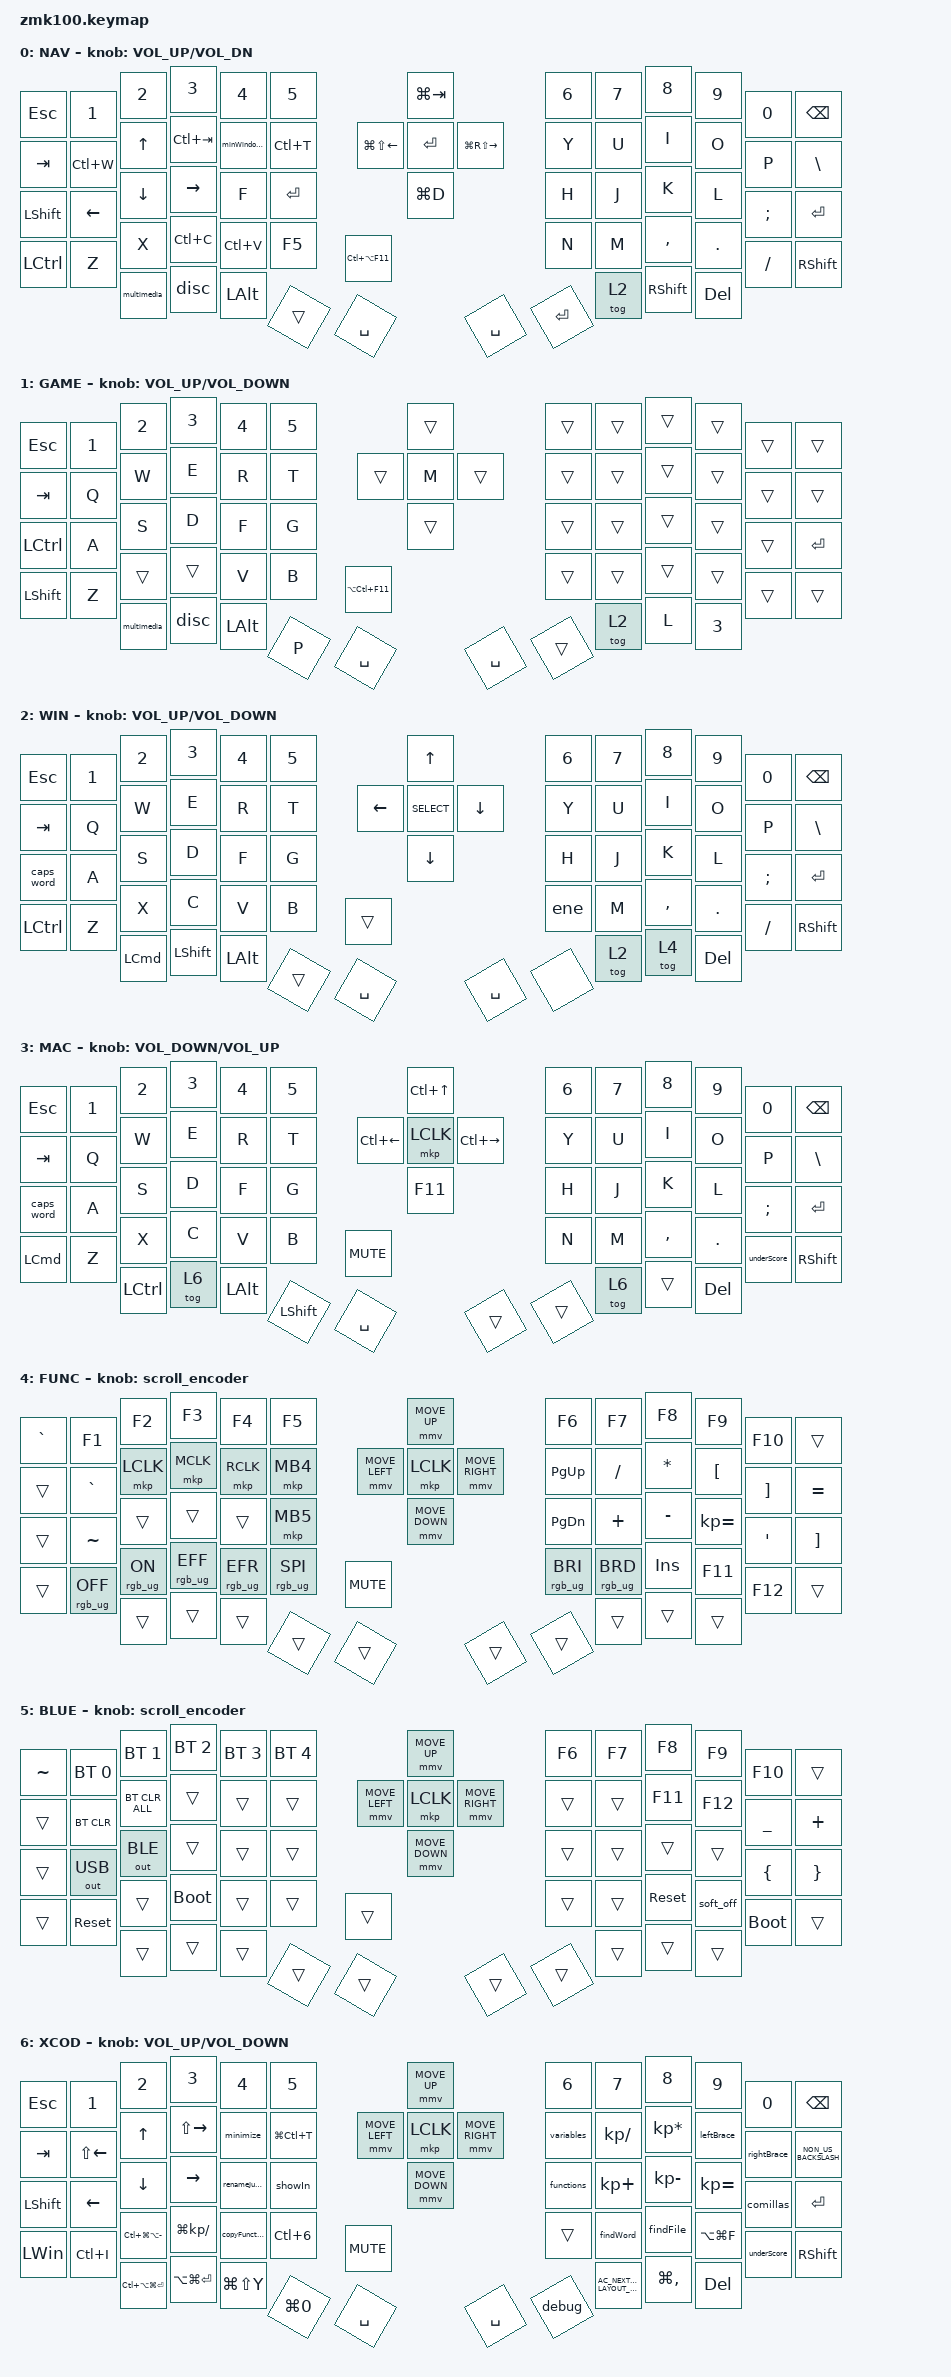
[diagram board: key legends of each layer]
/*
 * Copyright (c) 2023 The ZMK Contributors
 *
 * SPDX-License-Identifier: MIT
 */

#define ZMK_POINTING_DEFAULT_MOVE_VAL 1200  // 600
#define ZMK_POINTING_DEFAULT_SCRL_VAL 25   // 10

#include <input/processors.dtsi>
#include <zephyr/dt-bindings/input/input-event-codes.h>
#include <behaviors.dtsi>
#include <dt-bindings/zmk/bt.h>
#include <dt-bindings/zmk/keys.h>
#include <dt-bindings/zmk/outputs.h>
#include <dt-bindings/zmk/pointing.h>
#include <dt-bindings/zmk/rgb.h>

&mmv_input_listener { input-processors = <&zip_xy_scaler 2 1>; };

&msc_input_listener { input-processors = <&zip_scroll_scaler 2 1>; };

&msc {
    acceleration-exponent = <1>;      // 0
    time-to-max-speed-ms = <100>;       // 300
    delay-ms = <0>;                   // 0
};

&mmv {
    time-to-max-speed-ms = <500>;
    acceleration-exponent = <1>;
    trigger-period-ms = <16>;
};

&soft_off { hold-time-ms = <2000>; };

/ {
    scroll_encoder: scroll_encoder {
        compatible = "zmk,behavior-sensor-rotate";
        #sensor-binding-cells = <0>;
        bindings = <&msc SCRL_DOWN>, <&msc SCRL_UP>;

        tap-ms = <100>;
    };

    equalPlus: equalPlus {
        compatible = "zmk,behavior-tap-dance";
        label = "EQUALPLUS";
        #binding-cells = <0>;
        bindings = <&kp EQUAL>, <&kp PLUS>;

        tapping-term-ms = <300>;
    };

    comillas: comillas {
        compatible = "zmk,behavior-tap-dance";
        label = "COMILLAS";
        #binding-cells = <0>;
        bindings = <&kp SQT>, <&kp DOUBLE_QUOTES>;

        tapping-term-ms = <300>;
    };

    menos: menos {
        compatible = "zmk,behavior-tap-dance";
        label = "MENOS";
        #binding-cells = <0>;
        bindings = <&kp MINUS>, <&kp UNDERSCORE>;

        tapping-term-ms = <300>;
    };

    ene: ene {
        compatible = "zmk,behavior-tap-dance";
        label = "ENE";
        #binding-cells = <0>;
        bindings = <&kp N>, <&kp RA(N)>;

        tapping-term-ms = <300>;
    };

    disc: disc {
        compatible = "zmk,behavior-tap-dance";
        label = "DISC";
        #binding-cells = <0>;
        bindings = <&kp LC(INSERT)>, <&kp LC(LA(PAGE_DOWN))>, <&kp LG(LA(Q))>;

        tapping-term-ms = <300>;
    };

    multimedia: multimedia {
        compatible = "zmk,behavior-tap-dance";
        label = "MULTIMEDIA";
        #binding-cells = <0>;
        bindings = <&kp C_PLAY_PAUSE>, <&kp C_NEXT>, <&kp C_PREVIOUS>;

        tapping-term-ms = <300>;
    };

    minWindows: minWindows {
        compatible = "zmk,behavior-tap-dance";
        label = "MINWINDOWS";
        #binding-cells = <0>;
        bindings =
            <&kp LG(DOWN_ARROW)>,
            <&kp LG(UP_ARROW)>,
            <&kp LG(LEFT_ARROW)>,
            <&kp LG(RIGHT)>;

        tapping-term-ms = <300>;
    };

    leftBrace: leftBrace {
        compatible = "zmk,behavior-tap-dance";
        label = "LEFTBRACE";
        #binding-cells = <0>;
        tapping-term-ms = <300>;
        bindings = <&kp LEFT_BRACKET>, <&kp LEFT_BRACE>;
    };

    rightBrace: rightBrace {
        compatible = "zmk,behavior-tap-dance";
        label = "RIGHTBRACE";
        #binding-cells = <0>;
        bindings = <&kp RIGHT_BRACKET>, <&kp RIGHT_BRACE>;

        tapping-term-ms = <300>;
    };

    copyFunction: copyFunction {
        compatible = "zmk,behavior-tap-dance";
        label = "COPYFUNCTION";
        #binding-cells = <0>;
        bindings = <&kp LG(C)>, <&kp LG(V)>, <&kp LG(X)>;

        tapping-term-ms = <300>;
    };

    findWord: findWord {
        compatible = "zmk,behavior-tap-dance";
        label = "FINDWORD";
        #binding-cells = <0>;
        bindings = <&kp LG(F)>, <&kp LA(LG(F))>;

        tapping-term-ms = <300>;
    };

    findFile: findFile {
        compatible = "zmk,behavior-tap-dance";
        label = "FINDFILE";
        #binding-cells = <0>;
        bindings = <&kp LS(LG(O))>, <&kp LA(LG(J))>;

        tapping-term-ms = <300>;
    };

    variables: variables {
        compatible = "zmk,behavior-tap-dance";
        label = "VARIABLES";
        #binding-cells = <0>;
        bindings = <&variableLet>, <&variableVar>;

        tapping-term-ms = <300>;
    };

    debug: debug {
        compatible = "zmk,behavior-tap-dance";
        label = "DEBUG";
        #binding-cells = <0>;
        bindings = <&kp LG(LS(K))>, <&kp LG(B)>, <&kp LG(R)>;

        tapping-term-ms = <300>;
    };

    functions: functions {
        compatible = "zmk,behavior-tap-dance";
        label = "FUNCTIONS";
        #binding-cells = <0>;
        bindings = <&funcFunction>, <&funcIf>;

        tapping-term-ms = <300>;
    };

    minimize: minimize {
        compatible = "zmk,behavior-tap-dance";
        label = "MINIMIZE";
        #binding-cells = <0>;
        bindings = <&kp LC(LG(F))>, <&kp LG(H)>;

        tapping-term-ms = <300>;
    };

    showIn: showIn {
        compatible = "zmk,behavior-tap-dance";
        label = "SHOWIN";
        #binding-cells = <0>;
        bindings = <&kp LS(LG(J))>, <&kp LC(LG(LA(MINUS)))>;

        tapping-term-ms = <300>;
    };

    renameJump: renameJump {
        compatible = "zmk,behavior-tap-dance";
        label = "RENAMEJUMP";
        #binding-cells = <0>;
        bindings = <&kp LG(LC(E))>, <&kp LC(LG(J))>;

        tapping-term-ms = <300>;
    };

    underScore: underScore {
        compatible = "zmk,behavior-mod-morph";
        label = "UNDERSCORE";
        bindings = <&kp UNDERSCORE>, <&kp QUESTION>;

        #binding-cells = <0>;
        mods = <(MOD_RSFT)>;
    };

    behaviors {
    };

    combos {
        compatible = "zmk,combos";

        pcw {
            bindings = <&PcP1>;
            key-positions = <0 53>;
            layers = <0 1 2>;
        };

        toLayer0 {
            bindings = <&to 0>;
            key-positions = <57 0>;
            layers = <0 2 1 4 5 6 3>;
        };

        toLayer1 {
            bindings = <&to 1>;
            key-positions = <57 1>;
            layers = <0 2 3 1 4 5 6>;
        };

        toLayer2 {
            bindings = <&to 2>;
            key-positions = <57 2>;
            layers = <0 2 3 1 4 5 6>;
        };

        toLayer3 {
            bindings = <&to 3>;
            key-positions = <57 3>;
            layers = <0 2 3 1 4 5 6>;
        };

        mcw {
            bindings = <&McP1>;
            key-positions = <0 53>;
            layers = <3>;
        };

        toLayer4 {
            bindings = <&to 4>;
            key-positions = <57 4>;
            layers = <0 2 3 1 4 5 6>;
        };

        LockW {
            bindings = <&kp LG(L)>;
            key-positions = <0 39>;
            layers = <0 1 2>;
        };

        spotyOp {
            bindings = <&kp LG(NUMBER_3)>;
            key-positions = <39 53>;
            layers = <0 2 1>;
        };

        discOp {
            bindings = <&kp LG(NUMBER_4)>;
            key-positions = <39 54>;
            layers = <0 2 1>;
        };

        chromeOp {
            bindings = <&kp LG(N5)>;
            key-positions = <39 55>;
            layers = <0 2 1>;
        };

        whatsOp {
            bindings = <&kp LG(NUMBER_6)>;
            key-positions = <39 56>;
            layers = <1 0 2>;
        };

        lolOp {
            bindings = <&kp LG(N7)>;
            key-positions = <39 57>;
            layers = <1>;
        };

        layer6left {
            bindings = <&tog 6>;
            key-positions = <39 57>;
            layers = <6 3>;
        };

        copyMac {
            bindings = <&kp LG(C)>;
            key-positions = <39 42>;
            layers = <6>;
        };

        pasteMac {
            bindings = <&kp LG(V)>;
            key-positions = <39 43>;
            layers = <6>;
        };

        cutMac {
            bindings = <&kp LG(X)>;
            key-positions = <39 41>;
            layers = <6>;
        };
    };

    macros {
        PcP1: new_macro {
            compatible = "zmk,behavior-macro";
            #binding-cells = <0>;
            bindings = <&kp LS(M) &kp E &kp D &kp A &kp L &kp L &kp A &kp N2 &kp N3 &kp ENTER>;
            label = "NEW_MACRO";
            tap-ms = <1>;
        };

        McP1: McP1 {
            compatible = "zmk,behavior-macro";
            #binding-cells = <0>;
            bindings = <&kp LS(M) &kp E &kp D &kp A &kp L &kp L &kp A &kp N2 &kp N3 &kp POUND &kp RET>;
            label = "MCP1";
            tap-ms = <1>;
        };

        variableLet: variables {
            compatible = "zmk,behavior-macro";
            #binding-cells = <0>;
            bindings = <&kp L &kp E &kp T &kp SPACE &kp SPACE &kp EQUAL &kp LEFT &kp LEFT>;
            label = "VARIABLES";
        };

        variableVar: variableVar {
            compatible = "zmk,behavior-macro";
            #binding-cells = <0>;
            bindings = <&kp V &kp A &kp R &kp SPACE &kp SPACE &kp EQUAL &kp LEFT &kp LEFT>;
            label = "VARIABLEVAR";
        };

        funcFunction: funcFunction {
            compatible = "zmk,behavior-macro";
            #binding-cells = <0>;
            bindings = <&kp F &kp U &kp N &kp C &kp SPACE &kp SPACE &kp LPAR &kp RPAR &kp SPACE &kp LBRC &kp RET &kp UP_ARROW &kp RIGHT>;
            label = "FUNCFUNCTION";
        };

        funcIf: funcIf {
            compatible = "zmk,behavior-macro";
            #binding-cells = <0>;
            bindings = <&kp I &kp F &kp SPACE &kp SPACE &kp EQUAL &kp EQUAL &kp SPACE &kp SPACE &kp LBRC &kp RET &kp UP_ARROW &kp LEFT>;
            label = "FUNCIF";
        };
    };

    keymap {
        compatible = "zmk,keymap";

        layer0 {
            bindings = <
&kp ESC           &kp N1       &kp N2    &kp N3       &kp N4       &kp N5       &kp LG(TAB)        &kp N6     &kp N7     &kp N8     &kp N9           &kp N0      &kp BACKSPACE
&kp TAB           &kp LC(W)    &kp UP    &kp LC(TAB)  &minWindows  &kp LC(T)    &kp LG(D)          &kp Y      &kp U      &kp I      &kp O            &kp P       &kp BSLH
&kp LEFT_SHIFT    &kp LEFT     &kp DOWN  &kp RIGHT    &kp F        &kp RET      &kp LG(LS(LEFT))   &kp H      &kp J      &kp K      &kp L            &kp SEMI    &kp ENTER
&kp LEFT_CONTROL  &kp Z        &kp X     &kp LC(C)    &kp LC(V)    &kp F5       &kp LG(RS(RIGHT))  &kp N      &kp M      &kp COMMA  &kp DOT          &kp FSLH    &kp RIGHT_SHIFT
&kp LC(LA(F11))   &multimedia  &disc     &kp LALT     &trans       &kp SPACE    &kp ENTER          &kp SPACE  &kp ENTER  &tog 2     &kp RIGHT_SHIFT  &kp DELETE
            >;

            sensor-bindings = <&inc_dec_kp C_VOLUME_UP C_VOL_DN>;
            display-name = "NAV";
        };

        layer_1 {
            bindings = <
&kp ESC           &kp N1       &kp N2  &kp N3    &kp N4  &kp N5       &trans  &trans     &trans  &trans  &trans  &trans  &trans
&kp TAB           &kp Q        &kp W   &kp E     &kp R   &kp T        &trans  &trans     &trans  &trans  &trans  &trans  &trans
&kp LEFT_CONTROL  &kp A        &kp S   &kp D     &kp F   &kp G        &trans  &trans     &trans  &trans  &trans  &trans  &kp ENTER
&kp LEFT_SHIFT    &kp Z        &trans  &trans    &kp V   &kp B        &trans  &trans     &trans  &trans  &trans  &trans  &trans
&kp LA(LC(F11))   &multimedia  &disc   &kp LALT  &kp P   &kp SPACE    &kp M   &kp SPACE  &trans  &tog 2  &kp L   &kp N3
            >;

            display-name = "GAME";
            sensor-bindings = <&inc_dec_kp C_VOLUME_UP C_VOLUME_DOWN>;
        };

        layer_2 {
            bindings = <
&kp ESC     &kp N1            &kp N2          &kp N3        &kp N4  &kp N5       &kp UP_ARROW    &kp N6     &kp N7  &kp N8     &kp N9   &kp N0    &kp BSPC
&kp TAB     &kp Q             &kp W           &kp E         &kp R   &kp T        &kp DOWN_ARROW  &kp Y      &kp U   &kp I      &kp O    &kp P     &kp BSLH
&caps_word  &kp A             &kp S           &kp D         &kp F   &kp G        &kp LEFT_ARROW  &kp H      &kp J   &kp K      &kp L    &kp SEMI  &kp RET
&kp LCTRL   &kp Z             &kp X           &kp C         &kp V   &kp B        &kp DOWN_ARROW  &ene       &kp M   &kp COMMA  &kp DOT  &kp FSLH  &kp RSHFT
&trans      &kp LEFT_COMMAND  &kp LEFT_SHIFT  &kp LEFT_ALT  &trans  &kp SPACE    &kp K_SELECT    &kp SPACE  &none   &tog 2     &tog 4   &kp DEL
            >;

            display-name = "WIN";
            sensor-bindings = <&inc_dec_kp C_VOLUME_UP C_VOLUME_DOWN>;
        };

        layer_3 {
            display-name = "MAC";
            bindings = <
&kp ESC           &kp N1            &kp N2  &kp N3        &kp N4          &kp N5       &kp LC(UP_ARROW)    &kp N6  &kp N7  &kp N8     &kp N9   &kp N0       &kp BSPC
&kp TAB           &kp Q             &kp W   &kp E         &kp R           &kp T        &kp F11             &kp Y   &kp U   &kp I      &kp O    &kp P        &kp BSLH
&caps_word        &kp A             &kp S   &kp D         &kp F           &kp G        &kp LC(LEFT_ARROW)  &kp H   &kp J   &kp K      &kp L    &kp SEMI     &kp RET
&kp LEFT_COMMAND  &kp Z             &kp X   &kp C         &kp V           &kp B        &kp LC(RIGHT)       &kp N   &kp M   &kp COMMA  &kp DOT  &underScore  &kp RSHFT
&kp K_MUTE        &kp LEFT_CONTROL  &tog 6  &kp LEFT_ALT  &kp LEFT_SHIFT  &kp SPACE    &mkp LCLK           &trans  &trans  &tog 6     &trans   &kp DELETE
            >;

            sensor-bindings = <&inc_dec_kp K_VOLUME_DOWN K_VOLUME_UP>;
        };

        layer_4 {
            bindings = <
&kp GRAVE   &kp F1           &kp F2          &kp F3           &kp F4           &kp F5             &mmv MOVE_UP     &kp F6           &kp F7           &kp F8        &kp F9            &kp F10            &trans
&trans      &kp GRAVE        &mkp LCLK       &mkp MCLK        &mkp RCLK        &mkp MB4           &mmv MOVE_DOWN   &kp PG_UP        &kp SLASH        &kp ASTERISK  &kp LEFT_BRACKET  &kp RIGHT_BRACKET  &kp EQUAL
&trans      &kp TILDE        &trans          &trans           &trans           &mkp MB5           &mmv MOVE_LEFT   &kp PG_DN        &kp PLUS         &kp MINUS     &kp KP_EQUAL      &kp SQT            &kp RIGHT_BRACKET
&trans      &rgb_ug RGB_OFF  &rgb_ug RGB_ON  &rgb_ug RGB_EFF  &rgb_ug RGB_EFR  &rgb_ug RGB_SPI    &mmv MOVE_RIGHT  &rgb_ug RGB_BRI  &rgb_ug RGB_BRD  &kp INSERT    &kp F11           &kp F12            &trans
&kp C_MUTE  &trans           &trans          &trans           &trans           &trans             &mkp LCLK        &trans           &trans           &trans        &trans            &trans
            >;

            display-name = "FUNC";
            sensor-bindings = <&scroll_encoder>;
        };

        layer_5 {
            bindings = <
&kp TILDE  &bt BT_SEL 0  &bt BT_SEL 1    &bt BT_SEL 2  &bt BT_SEL 3  &bt BT_SEL 4    &mmv MOVE_UP     &kp F6  &kp F7  &kp F8      &kp F9     &kp F10      &trans
&trans     &bt BT_CLR    &bt BT_CLR_ALL  &trans        &trans        &trans          &mmv MOVE_DOWN   &trans  &trans  &kp F11     &kp F12    &kp UNDER    &kp PLUS
&trans     &out OUT_USB  &out OUT_BLE    &trans        &trans        &trans          &mmv MOVE_LEFT   &trans  &trans  &trans      &trans     &kp LBRC     &kp RBRC
&trans     &sys_reset    &trans          &bootloader   &trans        &trans          &mmv MOVE_RIGHT  &trans  &trans  &sys_reset  &soft_off  &bootloader  &trans
&trans     &trans        &trans          &trans        &trans        &trans          &mkp LCLK        &trans  &trans  &trans      &trans     &trans
            >;

            display-name = "BLUE";
            sensor-bindings = <&scroll_encoder>;
        };

        Layers {
            bindings = <
&kp ESC         &kp NUMBER_1           &kp NUMBER_2           &kp NUMBER_3       &kp NUMBER_4   &kp N5              &mmv MOVE_UP     &kp NUMBER_6  &kp N7         &kp N8                                &kp N9         &kp NUMBER_0  &kp BACKSPACE
&kp TAB         &kp LS(LEFT_ARROW)     &kp UP                 &kp LS(RIGHT)      &minimize      &kp LG(LC(T))       &mmv MOVE_DOWN   &variables    &kp KP_DIVIDE  &kp KP_ASTERISK                       &leftBrace     &rightBrace   &kp NON_US_BACKSLASH
&kp LEFT_SHIFT  &kp LEFT               &kp DOWN               &kp RIGHT          &renameJump    &showIn             &mmv MOVE_LEFT   &functions    &kp KP_PLUS    &kp KP_SUBTRACT                       &kp KP_EQUAL   &comillas     &kp ENTER
&kp LEFT_WIN    &kp LC(I)              &kp LC(LG(LA(MINUS)))  &kp LG(KP_DIVIDE)  &copyFunction  &kp LC(NUMBER_6)    &mmv MOVE_RIGHT  &trans        &findWord      &findFile                             &kp LA(LG(F))  &underScore   &kp RIGHT_SHIFT
&kp K_MUTE      &kp LC(LA(LG(ENTER)))  &kp LA(LG(ENTER))      &kp LG(LS(Y))      &kp LG(N0)     &kp SPACE           &mkp LCLK        &kp SPACE     &debug         &kp C_AC_NEXT_KEYBOARD_LAYOUT_SELECT  &kp LG(COMMA)  &kp DEL
            >;

            display-name = "XCOD";
            sensor-bindings = <&inc_dec_kp C_VOLUME_UP C_VOLUME_DOWN>;
        };
    };
};
